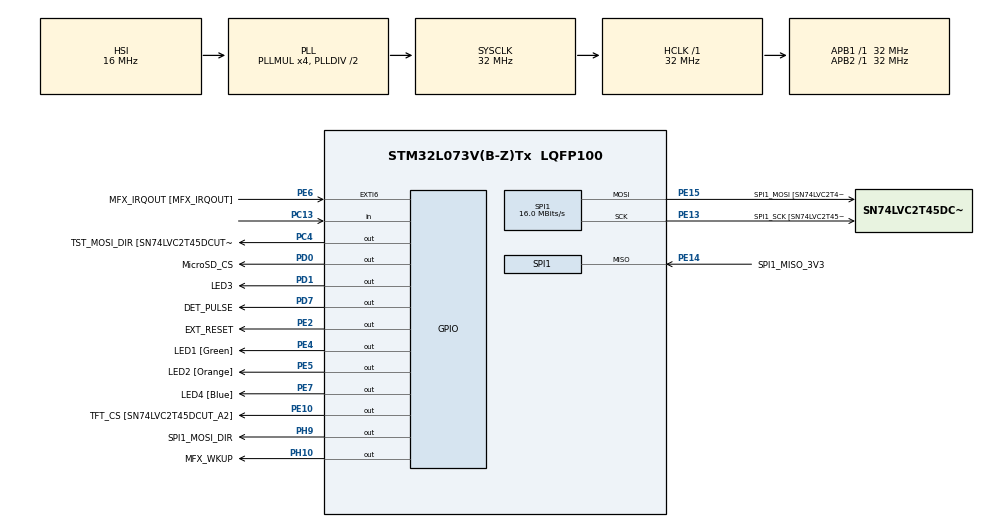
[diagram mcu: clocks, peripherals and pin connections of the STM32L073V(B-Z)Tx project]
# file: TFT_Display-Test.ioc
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Mcu.Family=STM32L0
Mcu.Name=STM32L073V(B-Z)Tx
Mcu.Package=LQFP100
PA0.GPIO_Label=PRESSURE [TSZ122IST_1]
PA0.Signal=ADC_IN0
PA11.GPIO_Label=USB_DM
PA11.Signal=USB_DM
PA12.GPIO_Label=USB_DP
PA12.Signal=USB_DP
PA13.GPIO_Label=SWDIO
PA13.Signal=SYS_SWDIO
PA14.GPIO_Label=SWCLK
PA14.Signal=SYS_SWCLK
PA4.GPIO_Label=DAC OUT1
PA4.Signal=COMP_DAC1_group
PA5.GPIO_Label=ADC_IN5
PA5.Signal=ADC_IN5
PA7.GPIO_Label=DET_COMP2_OUT [TP18]
PA7.Signal=COMP2_OUT
PB3.GPIO_Label=DET_COMP2_INM
PB3.Signal=COMP2_INM
PB4.GPIO_Label=DET_COMP2_INP
PB4.Signal=COMP2_INP
PB5.GPIO_Label=TempSensor_INT [STLM75M2F_OS/INT]
PB5.Signal=I2C1_SMBA
PB6.GPIO_Label=I2C1_SCL [STLM75M2F_SCL]
PB6.Signal=I2C1_SCL
PB7.GPIO_Label=I2C1_SDA [STLM75M2F_SDA]
PB7.Signal=I2C1_SDA
PC0.GPIO_Label=DET_LPTIM_CH1 [TS862AIPT_9]
PC0.Signal=LPTIM1_IN1
PC13.Signal=GPIO_Input
PC14-OSC32_IN.Signal=RCC_OSC32_IN
PC15-OSC32_OUT.Signal=RCC_OSC32_OUT
PC4.GPIO_Label=TST_MOSI_DIR [SN74LVC2T45DCUT_DIR]
PC4.Signal=GPIO_Output
PD0.GPIO_Label=MicroSD_CS
PD0.Signal=GPIO_Output
PD1.GPIO_Label=LED3
PD1.GPIO_ModeDefaultOutputPP=GPIO_MODE_OUTPUT_OD
PD1.Signal=GPIO_Output
PD11.GPIO_Label=LPUART_CTS_3V3 [ST3241EBPR_R4OUT]
PD11.Signal=LPUART1_CTS
PD12.GPIO_Label=LPUART_RTS [SN74LVC2T45DCUT_A2]
PD12.Signal=LPUART1_RTS
PD3.GPIO_Label=USART2_CTS_3V3 [ST3241EBPR_R4OUT]
PD3.Signal=USART2_CTS
PD4.GPIO_Label=USART2_RTS [N74LVC2T45DCUT_A2]
PD4.Signal=USART2_RTS
PD5.GPIO_Label=USART2_TX [N74LVC2T45DCUT_A1]
PD5.Signal=USART2_TX
PD6.GPIO_Label=USART2_RX_3V3 [ST3241EBPR_R3OUT]
PD6.Signal=USART2_RX
PD7.GPIO_Label=DET_PULSE
PD7.GPIO_ModeDefaultOutputPP=GPIO_MODE_OUTPUT_OD
PD7.Signal=GPIO_Output
PD8.GPIO_Label=LPUART_TX [SN74LVC2T45DCUT_A1]
PD8.Signal=LPUART1_TX
PD9.GPIO_Label=LPUART_RX_3V3 [ST3241EBPR_R3OUT]
PD9.Signal=LPUART1_RX
PE10.GPIO_Label=TFT_CS [SN74LVC2T45DCUT_A2]
PE10.Signal=GPIO_Output
PE13.GPIO_Label=SPI1_SCK [SN74LVC2T45DCUT_A1]
PE13.Mode=Full_Duplex_Master
PE13.Signal=SPI1_SCK
PE14.GPIO_Label=SPI1_MISO_3V3
PE14.Mode=Full_Duplex_Master
PE14.Signal=SPI1_MISO
PE15.GPIO_Label=SPI1_MOSI [SN74LVC2T45DCUT_A1]
PE15.Mode=Full_Duplex_Master
PE15.Signal=SPI1_MOSI
PE2.GPIO_Label=EXT_RESET
PE2.Signal=GPIO_Output
PE4.GPIO_Label=LED1 [Green]
PE4.GPIO_ModeDefaultOutputPP=GPIO_MODE_OUTPUT_OD
PE4.Signal=GPIO_Output
PE5.GPIO_Label=LED2 [Orange]
PE5.GPIO_ModeDefaultOutputPP=GPIO_MODE_OUTPUT_OD
PE5.Signal=GPIO_Output
PE6.GPIO_Label=MFX_IRQOUT [MFX_IRQOUT]
PE6.Signal=GPXTI6
PE7.GPIO_Label=LED4 [Blue]
PE7.GPIO_ModeDefaultOutputPP=GPIO_MODE_OUTPUT_OD
PE7.Signal=GPIO_Output
PE8.GPIO_Label=USART4_TX [SN74LVC2T45DCUT_A1]
PE8.Signal=USART4_TX
PE9.GPIO_Label=USART4_RX_3V3
PE9.Signal=USART4_RX
PH10.GPIO_Label=MFX_WKUP
PH10.Signal=GPIO_Output
PH9.GPIO_Label=SPI1_MOSI_DIR
PH9.Signal=GPIO_Output
ProjectManager.HeapSize=0x200
ProjectManager.StackSize=0x400
ProjectManager.TargetToolchain=SW4STM32
RCC.AHBFreq_Value=32000000
RCC.APB1Freq_Value=32000000
RCC.APB1TimFreq_Value=32000000
RCC.APB2Freq_Value=32000000
RCC.APB2TimFreq_Value=32000000
RCC.HCLKFreq_Value=32000000
RCC.HSE_VALUE=8000000
RCC.HSI16_VALUE=16000000
RCC.HSI48_VALUE=48000000
RCC.HSI_VALUE=16000000
RCC.LSE_VALUE=32768
RCC.MSI_VALUE=2097000
RCC.PLLMUL=RCC_PLLMUL_4
RCC.SYSCLKFreq_VALUE=32000000
RCC.SYSCLKSource=RCC_SYSCLKSOURCE_PLLCLK
RCC.VCOOutputFreq_Value=64000000
SH.COMP_DAC1_group.0=DAC_OUT1
SPI1.BaudRatePrescaler=SPI_BAUDRATEPRESCALER_2
SPI1.CalculateBaudRate=16.0 MBits/s
SPI1.Direction=SPI_DIRECTION_2LINES
SPI1.Mode=SPI_MODE_MASTER
SPI1.VirtualType=VM_MASTER
board=STM32L073Z-EVAL

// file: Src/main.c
/**
  ******************************************************************************
  * File Name          : main.c
  * Description        : Main program body
  ******************************************************************************
  ** This notice applies to any and all portions of this file
  * that are not between comment pairs USER CODE BEGIN and
  * USER CODE END. Other portions of this file, whether
  * inserted by the user or by software development tools
  * are owned by their respective copyright owners.
  *
  * COPYRIGHT(c) 2017 STMicroelectronics
  *
  * Redistribution and use in source and binary forms, with or without modification,
  * are permitted provided that the following conditions are met:
  *   1. Redistributions of source code must retain the above copyright notice,
  *      this list of conditions and the following disclaimer.
  *   2. Redistributions in binary form must reproduce the above copyright notice,
  *      this list of conditions and the following disclaimer in the documentation
  *      and/or other materials provided with the distribution.
  *   3. Neither the name of STMicroelectronics nor the names of its contributors
  *      may be used to endorse or promote products derived from this software
  *      without specific prior written permission.
  *
  * THIS SOFTWARE IS PROVIDED BY THE COPYRIGHT HOLDERS AND CONTRIBUTORS "AS IS"
  * AND ANY EXPRESS OR IMPLIED WARRANTIES, INCLUDING, BUT NOT LIMITED TO, THE
  * IMPLIED WARRANTIES OF MERCHANTABILITY AND FITNESS FOR A PARTICULAR PURPOSE ARE
  * DISCLAIMED. IN NO EVENT SHALL THE COPYRIGHT HOLDER OR CONTRIBUTORS BE LIABLE
  * FOR ANY DIRECT, INDIRECT, INCIDENTAL, SPECIAL, EXEMPLARY, OR CONSEQUENTIAL
  * DAMAGES (INCLUDING, BUT NOT LIMITED TO, PROCUREMENT OF SUBSTITUTE GOODS OR
  * SERVICES; LOSS OF USE, DATA, OR PROFITS; OR BUSINESS INTERRUPTION) HOWEVER
  * CAUSED AND ON ANY THEORY OF LIABILITY, WHETHER IN CONTRACT, STRICT LIABILITY,
  * OR TORT (INCLUDING NEGLIGENCE OR OTHERWISE) ARISING IN ANY WAY OUT OF THE USE
  * OF THIS SOFTWARE, EVEN IF ADVISED OF THE POSSIBILITY OF SUCH DAMAGE.
  *
  ******************************************************************************
  */

#include "main.h"
#include "stm32l0xx_hal.h"
#include "spi.h"
#include "gpio.h"

/* USER CODE BEGIN Includes */
#include "stm32l073z_eval_lcd.h"
/* USER CODE END Includes */

/* USER CODE BEGIN PV */
/* Private variables ---------------------------------------------------------*/

/* USER CODE END PV */

void SystemClock_Config(void);

/* USER CODE BEGIN PFP */
/* Private function prototypes -----------------------------------------------*/

/* USER CODE END PFP */

int main(void)
{

  /* MCU Configuration----------------------------------------------------------*/

  /* Reset of all peripherals, Initializes the Flash interface and the Systick. */
  HAL_Init();

  /* Configure the system clock */
  SystemClock_Config();

  /* Initialize all configured peripherals */
  MX_GPIO_Init();
  MX_SPI1_Init();

  /* USER CODE BEGIN 2 */
  BSP_LED_Init(LED1);
  BSP_LED_Init(LED2);
  BSP_LED_Init(LED3);
  BSP_LED_Init(LED4);

  BSP_LCD_Init();
  BSP_LCD_Clear(LCD_COLOR_BLACK);
  BSP_LCD_SetBackColor(LCD_COLOR_BLACK);
  BSP_LCD_SetFont(&Font20);
  /* USER CODE END 2 */

  /* Infinite loop */
  /* USER CODE BEGIN WHILE */
  const int bar_height = BSP_LCD_GetYSize() * 0.8;
  const float max_time = 850.0;
  while (1) {
      if(HAL_GPIO_ReadPin(GPIOC, GPIO_PIN_13) == GPIO_PIN_RESET) {
          BSP_LCD_SetTextColor(LCD_COLOR_BLACK);

          uint16_t width = BSP_LCD_GetXSize();
          uint16_t height = bar_height;
          uint16_t x_pos = BSP_LCD_GetXSize()/2 - width/2;
          uint16_t y_pos = BSP_LCD_GetYSize() - height;
          BSP_LCD_FillRect(x_pos, y_pos, width, height);

          BSP_LCD_SetTextColor(LCD_COLOR_WHITE);
          BSP_LCD_DisplayStringAt(0, LINE(1), "Hello World", CENTER_MODE);

          BSP_LCD_SetTextColor(LCD_COLOR_LIGHTBLUE);
          HAL_Delay(200);
      }

      uint32_t before = HAL_GetTick();
      uint32_t delta = 10;

      while (HAL_GPIO_ReadPin(GPIOC, GPIO_PIN_13) == GPIO_PIN_SET) {
          delta = HAL_GetTick() - before;
          if (delta > max_time) delta = max_time;

          float ratio = delta / max_time;

          uint16_t width = BSP_LCD_GetXSize() * 0.33;
          uint16_t height = ratio * bar_height;
          uint16_t x_pos = BSP_LCD_GetXSize()/2 - width/2;
          uint16_t y_pos = BSP_LCD_GetYSize() - height;
          BSP_LCD_FillRect(x_pos, y_pos, width, height);

          char buf[50];
          sprintf(buf, "%d%% ", (int) (ratio * 100 + 0.5));
          BSP_LCD_DisplayStringAt(0, LINE(9), buf, RIGHT_MODE);
      }
  }
  /* USER CODE END WHILE */

}

/** System Clock Configuration
*/
void SystemClock_Config(void)
{

  RCC_OscInitTypeDef RCC_OscInitStruct;
  RCC_ClkInitTypeDef RCC_ClkInitStruct;

    /**Configure the main internal regulator output voltage
    */
  __HAL_PWR_VOLTAGESCALING_CONFIG(PWR_REGULATOR_VOLTAGE_SCALE1);

    /**Initializes the CPU, AHB and APB busses clocks
    */
  RCC_OscInitStruct.OscillatorType = RCC_OSCILLATORTYPE_HSI;
  RCC_OscInitStruct.HSIState = RCC_HSI_ON;
  RCC_OscInitStruct.HSICalibrationValue = 16;
  RCC_OscInitStruct.PLL.PLLState = RCC_PLL_ON;
  RCC_OscInitStruct.PLL.PLLSource = RCC_PLLSOURCE_HSI;
  RCC_OscInitStruct.PLL.PLLMUL = RCC_PLLMUL_4;
  RCC_OscInitStruct.PLL.PLLDIV = RCC_PLLDIV_2;
  if (HAL_RCC_OscConfig(&RCC_OscInitStruct) != HAL_OK)
  {
    _Error_Handler(__FILE__, __LINE__);
  }

    /**Initializes the CPU, AHB and APB busses clocks
    */
  RCC_ClkInitStruct.ClockType = RCC_CLOCKTYPE_HCLK|RCC_CLOCKTYPE_SYSCLK
                              |RCC_CLOCKTYPE_PCLK1|RCC_CLOCKTYPE_PCLK2;
  RCC_ClkInitStruct.SYSCLKSource = RCC_SYSCLKSOURCE_PLLCLK;
  RCC_ClkInitStruct.AHBCLKDivider = RCC_SYSCLK_DIV1;
  RCC_ClkInitStruct.APB1CLKDivider = RCC_HCLK_DIV1;
  RCC_ClkInitStruct.APB2CLKDivider = RCC_HCLK_DIV1;

  if (HAL_RCC_ClockConfig(&RCC_ClkInitStruct, FLASH_LATENCY_1) != HAL_OK)
  {
    _Error_Handler(__FILE__, __LINE__);
  }

    /**Configure the Systick interrupt time
    */
  HAL_SYSTICK_Config(HAL_RCC_GetHCLKFreq()/1000);

    /**Configure the Systick
    */
  HAL_SYSTICK_CLKSourceConfig(SYSTICK_CLKSOURCE_HCLK);

  /* SysTick_IRQn interrupt configuration */
  HAL_NVIC_SetPriority(SysTick_IRQn, 0, 0);
}

void _Error_Handler(char * file, int line)
{
  while(1)
  {
  }
}

/************************ (C) COPYRIGHT STMicroelectronics *****END OF FILE****/
